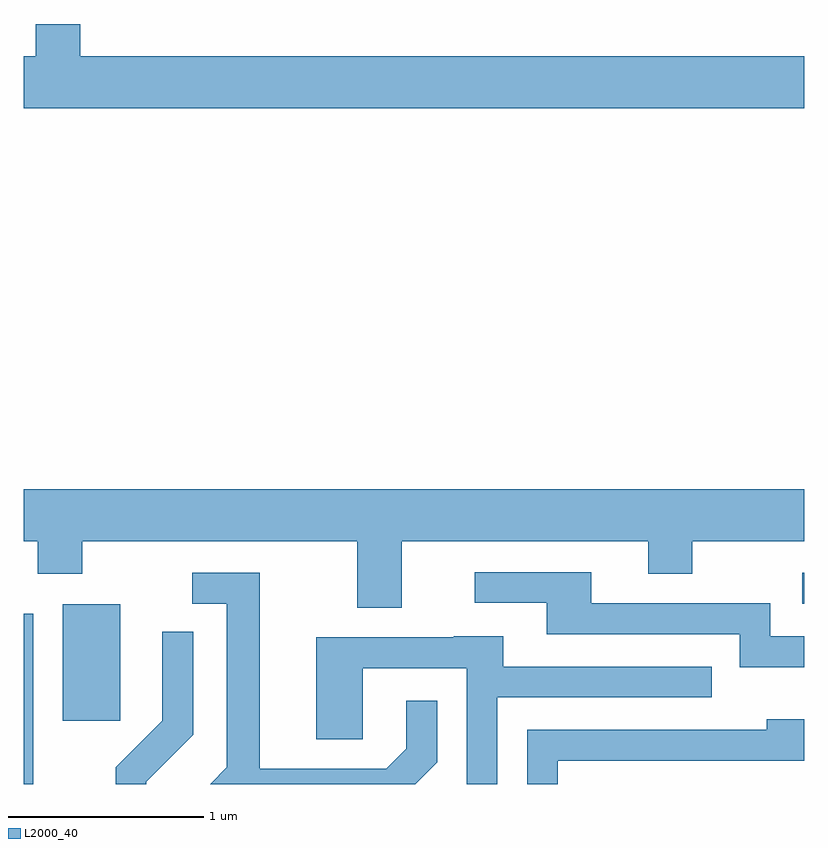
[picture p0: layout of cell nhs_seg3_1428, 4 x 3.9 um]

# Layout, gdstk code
import gdstk
lib = gdstk.Library(unit=1e-6, precision=1e-09)
def R(c, l, rs):  # rectangles x0, y0, x1, y1
    for r in rs: c.add(gdstk.rectangle(r[:2], r[2:], *l))
def P(c, l, *ps):  # polygons
    for p in ps: c.add(gdstk.Polygon(p, *l))
L2000_40 = (2000, 40)

nhs_seg3_1428 = lib.new_cell('nhs_seg3_1428')
R(nhs_seg3_1428, L2000_40, [(227.611,1115.892,227.659,1116.764), (227.811,1116.216,228.104,1116.814), (231.603,1116.816,231.611,1116.974)])
P(nhs_seg3_1428, L2000_40, [(231.611,1119.624),(227.899,1119.624),(227.899,1119.789),(227.671,1119.789),(227.671,1119.624),(227.611,1119.624),(227.611,1119.356),(231.611,1119.356)],
  [(229.549,1117.136),(230.811,1117.136),(230.811,1116.971),(231.039,1116.971),(231.039,1117.136),(231.611,1117.136),(231.611,1117.404),(227.611,1117.404),(227.611,1117.136),(227.681,1117.136),(227.681,1116.971),(227.909,1116.971),(227.909,1117.136),(229.321,1117.136),(229.321,1116.796),(229.549,1116.796)],
  [(231.611,1116.649),(231.439,1116.649),(231.439,1116.819),(230.519,1116.819),(230.519,1116.979),(229.923,1116.979),(229.923,1116.821),(230.291,1116.821),(230.291,1116.661),(231.281,1116.661),(231.281,1116.491),(231.611,1116.491)],
  [(229.729,1116.004),(229.729,1116.318),(229.571,1116.318),(229.571,1116.072),(229.469,1115.969),(228.819,1115.969),(228.819,1116.974),(228.473,1116.974),(228.473,1116.816),(228.651,1116.816),(228.651,1115.977),(228.567,1115.892),(229.618,1115.892)],
  [(228.239,1115.904),(228.479,1116.144),(228.479,1116.673),(228.321,1116.673),(228.321,1116.217),(228.081,1115.977),(228.081,1115.892),(228.239,1115.892)],
  [(230.039,1116.336),(231.138,1116.336),(231.138,1116.494),(230.069,1116.494),(230.069,1116.649),(229.815,1116.649),(229.815,1116.644),(229.111,1116.644),(229.111,1116.121),(229.349,1116.121),(229.349,1116.486),(229.881,1116.486),(229.881,1115.892),(230.039,1115.892)],
  [(230.349,1116.011),(231.611,1116.011),(231.611,1116.224),(231.421,1116.224),(231.421,1116.169),(230.191,1116.169),(230.191,1115.892),(230.349,1115.892)])

lib.write_gds('nhs_seg3_1428.gds')
